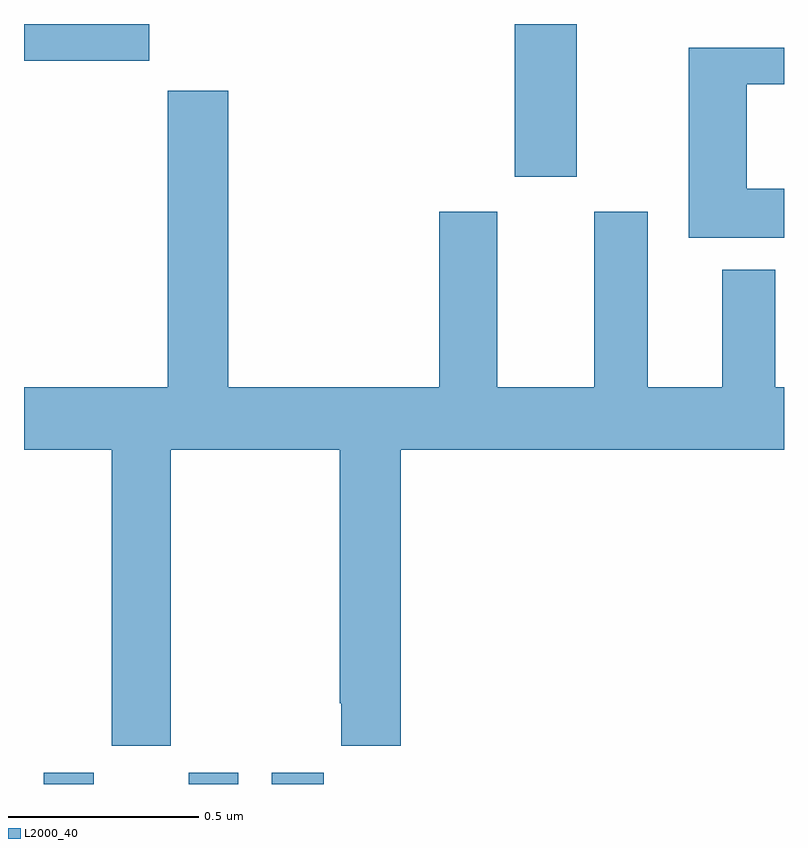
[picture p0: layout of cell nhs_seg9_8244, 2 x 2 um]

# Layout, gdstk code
import gdstk
lib = gdstk.Library(unit=1e-6, precision=1e-09)
def R(c, l, rs):  # rectangles x0, y0, x1, y1
    for r in rs: c.add(gdstk.rectangle(r[:2], r[2:], *l))
def P(c, l, *ps):  # polygons
    for p in ps: c.add(gdstk.Polygon(p, *l))
L2000_40 = (2000, 40)

nhs_seg9_8244 = lib.new_cell('nhs_seg9_8244')
R(nhs_seg9_8244, L2000_40, [(214.052,1235.5,214.183,1235.53), (214.433,1235.5,214.564,1235.53), (214.652,1235.5,214.789,1235.53), (215.291,1237.098,215.455,1237.5), (214,1237.403,214.33,1237.5)])
P(nhs_seg9_8244, L2000_40, [(216,1237.066),(215.902,1237.066),(215.902,1237.341),(216,1237.341),(216,1237.437),(215.749,1237.437),(215.749,1236.938),(216,1236.938)],
  [(214.386,1236.38),(214.831,1236.38),(214.831,1235.713),(214.835,1235.713),(214.835,1235.601),(214.991,1235.601),(214.991,1236.38),(216,1236.38),(216,1236.544),(215.977,1236.544),(215.977,1236.853),(215.837,1236.853),(215.837,1236.544),(215.641,1236.544),(215.641,1237.006),(215.501,1237.006),(215.501,1236.544),(215.245,1236.544),(215.245,1237.006),(215.093,1237.006),(215.093,1236.544),(214.538,1236.544),(214.538,1237.324),(214.378,1237.324),(214.378,1236.544),(214,1236.544),(214,1236.38),(214.231,1236.38),(214.231,1235.601),(214.386,1235.601)])

lib.write_gds('nhs_seg9_8244.gds')
